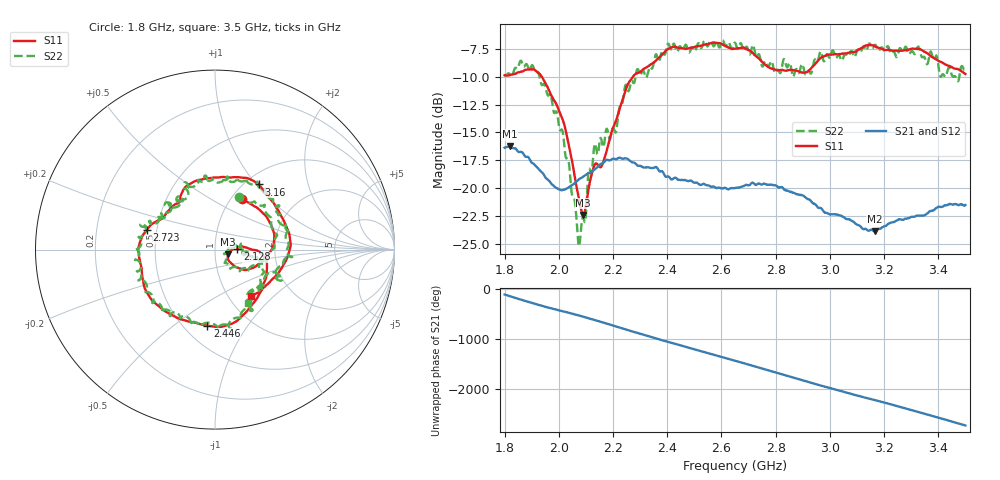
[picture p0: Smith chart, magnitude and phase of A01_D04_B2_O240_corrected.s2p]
! Created with skrf 1.9.0 (http://scikit-rf.org).
# Hz S RI R 50.0
!freq ReS11 ImS11 ReS21 ImS21 ReS12 ImS12 ReS22 ImS22
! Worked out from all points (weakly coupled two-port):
!   1601 points, 1.8 GHz to 3.5 GHz, reference 50 ohm
!   highest |S21| = -16.25 dB at 1.818 GHz (marker M1); lowest = -23.9 dB at 3.165 GHz (marker M2)
!   lowest |S11| = -22.4 dB at 2.09 GHz (marker M3), VSWR 1.16, Z = 57.6 - j3.04 ohm
!   |S11| at or under -10 dB: 1.937 GHz to 2.274 GHz (336.2 MHz wide, 16 % of centre)
!   |S22| runs from -25.2 to -6.7 dB; largest |S21 - S12| = 0.0025
!   S11 on the Smith chart (normalised r, x): 1.8 GHz: 1.12, +0.71; 2.128 GHz: 1.28, +0.01; 2.446 GHz: 0.65, -0.67; 2.723 GHz: 0.44, +0.11; 3.16 GHz: 1.15, +1.03; 3.5 GHz: 1.26, -0.73
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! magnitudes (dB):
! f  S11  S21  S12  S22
! 1.8 GHz  -9.9  -16.4  -16.4  -9.9
! 1.818 GHz  -9.9  -16.3  -16.3  -9.7
! 1.903 GHz  -9.3  -17.8  -17.7  -9.0
! 1.968 GHz  -11.4  -19.4  -19.5  -11.6
! 2.015 GHz  -13.9  -20.2  -20.2  -15.0
! 2.072 GHz  -20.6  -19.3  -19.3  -25.0
! 2.084 GHz  -22.0  -19.1  -19.0  -23.2
! 2.09 GHz  -22.4  -19.0  -19.0  -22.6
! 2.128 GHz  -18.1  -18.4  -18.4  -16.7
! 2.162 GHz  -17.8  -17.7  -17.7  -16.3
! 2.259 GHz  -10.5  -17.5  -17.5  -11.2
! 2.367 GHz  -8.3  -18.3  -18.3  -8.5
! 2.446 GHz  -7.4  -19.3  -19.2  -7.3
! 2.65 GHz  -7.5  -20.0  -19.9  -6.9
! 2.723 GHz  -8.1  -19.7  -19.6  -7.8
! 2.934 GHz  -9.2  -21.3  -21.2  -9.5
! 3.16 GHz  -7.2  -23.8  -23.7  -7.4
! 3.165 GHz  -7.2  -23.9  -23.8  -7.1
! 3.217 GHz  -7.6  -23.2  -23.1  -7.4
! 3.375 GHz  -8.2  -22.0  -22.0  -7.8
! 3.415 GHz  -8.7  -21.7  -21.6  -9.8
! 3.5 GHz  -9.8  -21.5  -21.5  -9.2
